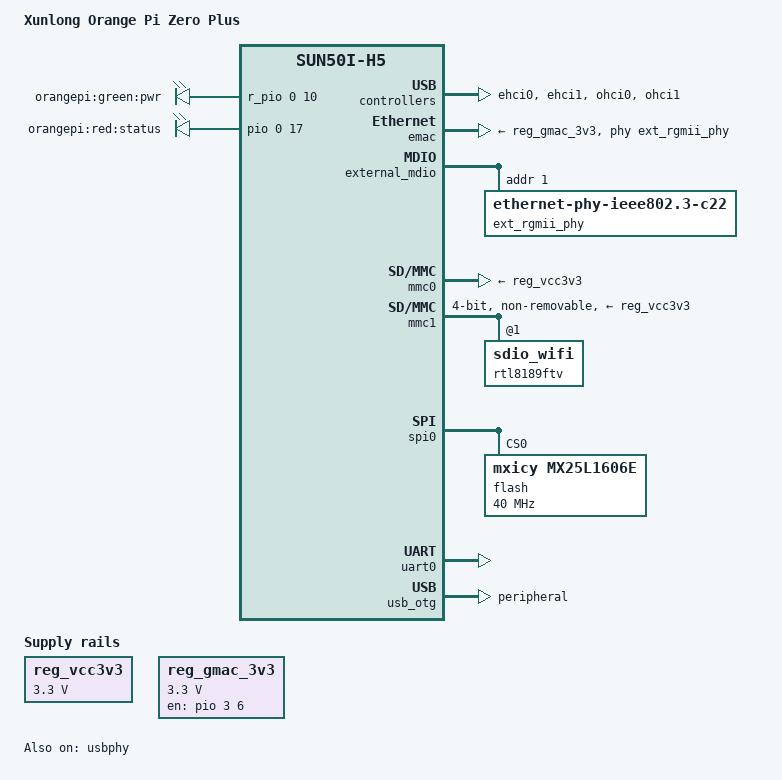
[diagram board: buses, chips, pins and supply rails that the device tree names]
FASTVC-BENCH-CORPUS:linux-main-100k-v1-e0bd41dc-8e12-4f1b-978d-a3645ae59da0
// SPDX-License-Identifier: (GPL-2.0+ OR MIT)
// Copyright (C) 2016 ARM Ltd.
// Copyright (C) 2018 Hauke Mehrtens <hauke@hauke-m.de>

/dts-v1/;
#include "sun50i-h5.dtsi"

#include <dt-bindings/gpio/gpio.h>
#include <dt-bindings/input/input.h>
#include <dt-bindings/pinctrl/sun4i-a10.h>

/ {
	model = "Xunlong Orange Pi Zero Plus";
	compatible = "xunlong,orangepi-zero-plus", "allwinner,sun50i-h5";

	reg_vcc3v3: vcc3v3 {
		compatible = "regulator-fixed";
		regulator-name = "vcc3v3";
		regulator-min-microvolt = <3300000>;
		regulator-max-microvolt = <3300000>;
	};

	aliases {
		ethernet0 = &emac;
		ethernet1 = &rtl8189ftv;
		serial0 = &uart0;
	};

	chosen {
		stdout-path = "serial0:115200n8";
	};

	leds {
		compatible = "gpio-leds";

		led-0 {
			label = "orangepi:green:pwr";
			gpios = <&r_pio 0 10 GPIO_ACTIVE_HIGH>; /* PA10 */
			default-state = "on";
		};

		led-1 {
			label = "orangepi:red:status";
			gpios = <&pio 0 17 GPIO_ACTIVE_HIGH>; /* PA17 */
		};
	};

	reg_gmac_3v3: gmac-3v3 {
		compatible = "regulator-fixed";
		regulator-name = "gmac-3v3";
		regulator-min-microvolt = <3300000>;
		regulator-max-microvolt = <3300000>;
		startup-delay-us = <100000>;
		enable-active-high;
		gpio = <&pio 3 6 GPIO_ACTIVE_HIGH>; /* PD6 */
	};
};

&ehci0 {
	status = "okay";
};

&ehci1 {
	status = "okay";
};

&emac {
	pinctrl-names = "default";
	pinctrl-0 = <&emac_rgmii_pins>;
	phy-supply = <&reg_gmac_3v3>;
	phy-handle = <&ext_rgmii_phy>;
/* bench 19534.1.0 728d069a77a4 */
/* bench 19534.1.1 240f61ca6e9b */
/* bench 19534.1.2 075831d02c23 */
/* bench 19534.1.3 f0d537af6bec */
/* bench 19534.1.4 8b39875377ee */
/* bench 19534.1.5 8ab1c1f3eab8 */
/* bench 19534.1.6 56fcca6b46ce */
/* bench 19534.1.7 4c4c15a533bd */
/* bench 19534.1.8 abaf7a2db567 */
/* bench 19534.1.9 ae21ab2ee75c */
	status = "okay";
};

&external_mdio {
	ext_rgmii_phy: ethernet-phy@1 {
		compatible = "ethernet-phy-ieee802.3-c22";
		reg = <1>;
	};
};

&mmc0 {
	vmmc-supply = <&reg_vcc3v3>;
/* bench 872.2.0 5c2a6a9cdf01 */
/* bench 872.2.1 a8c7bd58a23a */
/* bench 872.2.2 68535434dd0e */
	status = "okay";
};

&mmc1 {
	vmmc-supply = <&reg_vcc3v3>;
	bus-width = <4>;
	non-removable;
	status = "okay";

	/*
	 * Explicitly define the sdio device, so that we can add an ethernet
	 * alias for it (which e.g. makes u-boot set a mac-address).
	 */
	rtl8189ftv: sdio_wifi@1 {
		reg = <1>;
	};
};

&spi0  {
	status = "okay";

	flash@0 {
		#address-cells = <1>;
		#size-cells = <1>;
		compatible = "mxicy,mx25l1606e", "winbond,w25q128";
		reg = <0>;
		spi-max-frequency = <40000000>;
	};
};

&ohci0 {
	status = "okay";
};

&ohci1 {
	status = "okay";
};

&uart0 {
	pinctrl-names = "default";
	pinctrl-0 = <&uart0_pa_pins>;
	status = "okay";
/* bench 8907.3.0 bf9ca18d1a8b */
/* bench 8907.3.1 7de7dbe96276 */
/* bench 8907.3.2 ac8c5a0850ed */
/* bench 8907.3.3 8823725c1d2f */
/* bench 8907.3.4 aefc67ca2c8a */
/* bench 8907.3.5 d7bb678bf29b */
/* bench 8907.3.6 1c49a1168d4b */
/* bench 8907.3.7 7bd046caa0e6 */
/* bench 8907.3.8 a917120b8cf2 */
/* bench 8907.3.9 885ce7aa7d20 */
/* bench 8907.3.10 8f99b4f82c65 */
/* bench 8907.3.11 f8316ff2d870 */
};

&usb_otg {
	dr_mode = "peripheral";
	status = "okay";
};

&usbphy {
	/* USB Type-A ports' VBUS is always on */
	usb0_id_det-gpios = <&pio 6 12 GPIO_ACTIVE_HIGH>; /* PG12 */
	status = "okay";
};
